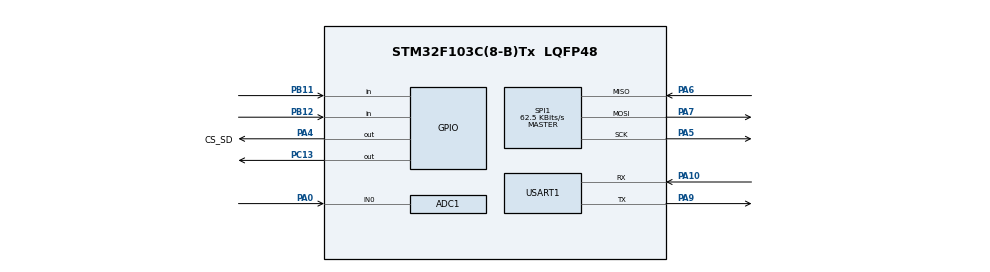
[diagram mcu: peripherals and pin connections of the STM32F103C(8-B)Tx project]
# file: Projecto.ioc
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ADC1.Channel-0\#ChannelRegularConversion=ADC_CHANNEL_0
ADC1.NbrOfConversionFlag=1
ADC1.Rank-0\#ChannelRegularConversion=1
ADC1.SamplingTime-0\#ChannelRegularConversion=ADC_SAMPLETIME_239CYCLES_5
ADC1.master=1
FATFS._MAX_SS=4096
FATFS._USE_LFN=1
Mcu.Family=STM32F1
Mcu.Name=STM32F103C(8-B)Tx
Mcu.Package=LQFP48
NVIC.PriorityGroup=NVIC_PRIORITYGROUP_4
PA0-WKUP.Signal=ADCx_IN0
PA10.Mode=Asynchronous
PA10.Signal=USART1_RX
PA13.Mode=Serial_Wire
PA13.Signal=SYS_JTMS-SWDIO
PA14.Mode=Serial_Wire
PA14.Signal=SYS_JTCK-SWCLK
PA4.GPIO_Label=CS_SD
PA4.Signal=GPIO_Output
PA5.Mode=Full_Duplex_Master
PA5.Signal=SPI1_SCK
PA6.Mode=Full_Duplex_Master
PA6.Signal=SPI1_MISO
PA7.Mode=Full_Duplex_Master
PA7.Signal=SPI1_MOSI
PA9.Mode=Asynchronous
PA9.Signal=USART1_TX
PB11.GPIO_PuPd=GPIO_PULLDOWN
PB11.Signal=GPIO_Input
PB12.GPIO_PuPd=GPIO_PULLDOWN
PB12.Signal=GPIO_Input
PC13-TAMPER-RTC.Signal=GPIO_Output
PD0-OSC_IN.Mode=HSE-External-Oscillator
PD0-OSC_IN.Signal=RCC_OSC_IN
PD1-OSC_OUT.Mode=HSE-External-Oscillator
PD1-OSC_OUT.Signal=RCC_OSC_OUT
ProjectManager.HeapSize=0x200
ProjectManager.StackSize=0x400
ProjectManager.TargetToolchain=STM32CubeIDE
RCC.APB1Freq_Value=8000000
RCC.APB2Freq_Value=8000000
RTC.Month=RTC_MONTH_APRIL
SH.ADCx_IN0.0=ADC1_IN0,IN0
SPI1.BaudRatePrescaler=SPI_BAUDRATEPRESCALER_128
SPI1.CalculateBaudRate=62.5 KBits/s
SPI1.Direction=SPI_DIRECTION_2LINES
SPI1.Mode=SPI_MODE_MASTER
SPI1.VirtualType=VM_MASTER
USART1.VirtualMode=VM_ASYNC
VP_FATFS_VS_Generic.Mode=User_defined
VP_RTC_VS_RTC_Activate.Mode=RTC_Enabled
VP_RTC_VS_RTC_Calendar.Mode=RTC_Calendar
board=custom

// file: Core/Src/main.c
/* USER CODE BEGIN Header */
/**
  ******************************************************************************
  * @file           : main.c
  * @brief          : Main program body
  ******************************************************************************
  * @attention
  *
  * Copyright (c) 2024 STMicroelectronics.
  * All rights reserved.
  *
  * This software is licensed under terms that can be found in the LICENSE file
  * in the root directory of this software component.
  * If no LICENSE file comes with this software, it is provided AS-IS.
  *
  ******************************************************************************
  */
/* USER CODE END Header */
#include "main.h"
#include "fatfs.h"

/* USER CODE BEGIN PD */
#define TEMP_RESOLUTION 10000
#define MINUTE_TICK_OFFSET 600
#define WAIT_OFFSET 5000
/* USER CODE END PD */

ADC_HandleTypeDef hadc1;

RTC_HandleTypeDef hrtc;

SPI_HandleTypeDef hspi1;

UART_HandleTypeDef huart1;

/* USER CODE BEGIN PV */

enum state{lectura,espera,botonEspera};
enum event{start,wait,wait2};
FATFS filesystem;
FIL file;
/* USER CODE END PV */

void SystemClock_Config(void);
static void MX_GPIO_Init(void);
static void MX_SPI1_Init(void);
static void MX_RTC_Init(void);
static void MX_USART1_UART_Init(void);
static void MX_ADC1_Init(void);
/* USER CODE BEGIN PFP */
void RTC_GetTimeStr(char *buffer);
/* USER CODE END PFP */

/* USER CODE BEGIN 0 */

void RTC_GetTimeStr(char *buffer) {
    RTC_DateTypeDef sDate;
    RTC_TimeTypeDef sTime;

    // Obtiene la fecha y hora actual del RTC
    HAL_RTC_GetDate(&hrtc, &sDate, RTC_FORMAT_BIN);
    HAL_RTC_GetTime(&hrtc, &sTime, RTC_FORMAT_BIN);

    // Formatea la hora como una cadena de caracteres y la guarda en el buffer
    sprintf(buffer, "\n\r%02d:%02d:%02d\n\r", sTime.Hours, sTime.Minutes, sTime.Seconds);
}

void GetTemperatura( char *timeStr ){
	int parte_entera;
	int parte_decimal;
	int adc_value1;
	int adc_value;
	char Cadena[50];

	 HAL_ADC_Start(&hadc1);
		    if (HAL_ADC_PollForConversion(&hadc1, 100) == HAL_OK) {
		      adc_value = HAL_ADC_GetValue(&hadc1);
		    }
		  HAL_ADC_Stop(&hadc1);
		  HAL_Delay(1000);
		  adc_value1=(((adc_value*TEMP_RESOLUTION)/4096)*3.3*100)-50*TEMP_RESOLUTION;
		  parte_entera=adc_value1/TEMP_RESOLUTION;
		  parte_decimal=abs(adc_value1%(parte_entera*TEMP_RESOLUTION));
		  parte_decimal=parte_decimal/1000;

		 sprintf(Cadena,"%s %d,%0.2d °C\n\r", timeStr, parte_entera, parte_decimal);

		  // Enviar la cadena por UART
		 HAL_UART_Transmit(&huart1, (uint8_t *)Cadena, strlen(Cadena), HAL_MAX_DELAY);
}

void iniciosd(FATFS fs,FIL fil){
	char header[] = "|Hora|Temperatura|\n\r|-----|-----|\n\r";
	f_mount(&fs, "", 0);
	f_open(&fil, "tabla.txt", FA_CREATE_ALWAYS | FA_WRITE | FA_READ);
	f_lseek(&fil, fil.fsize);
	f_puts(header, &fil);
	f_close(&fil);
}

void flectura(FATFS fs, FIL fil){
	RTC_DateTypeDef sDate;
	RTC_TimeTypeDef sTime;
	int32_t adcValue;
	int32_t entero;
	int32_t decimal;
	char buffer[50];

	// Obtiene la fecha y hora actual del RTC
	HAL_RTC_GetDate(&hrtc, &sDate, RTC_FORMAT_BIN);
	HAL_RTC_GetTime(&hrtc, &sTime, RTC_FORMAT_BIN);

	HAL_ADC_Start(&hadc1);
	if (HAL_ADC_PollForConversion(&hadc1, 100) == HAL_OK) {
		adcValue = HAL_ADC_GetValue(&hadc1);
	}
	HAL_ADC_Stop(&hadc1);
    adcValue=(((adcValue*TEMP_RESOLUTION)/4096)*330)-50*TEMP_RESOLUTION;
    entero=adcValue/TEMP_RESOLUTION;
    decimal=(adcValue%(entero*TEMP_RESOLUTION))/100;

	// Formatea la hora como una cadena de caracteres y la guarda en el buffer
	sprintf(buffer, "| %02d:%02d:%02d | %d,%d °C |\r\n", sTime.Hours, sTime.Minutes, sTime.Seconds, entero, decimal);
	f_open(&fil, "tabla.txt", FA_OPEN_EXISTING | FA_WRITE | FA_READ);
	f_lseek(&fil,fil.fsize);
	f_puts(buffer,&fil);
	f_close(&fil);
}
/* USER CODE END 0 */

int main(void)
{

  /* MCU Configuration--------------------------------------------------------*/

  /* Reset of all peripherals, Initializes the Flash interface and the Systick. */
  HAL_Init();

  /* Configure the system clock */
  SystemClock_Config();

  /* Initialize all configured peripherals */
  MX_GPIO_Init();
  MX_SPI1_Init();
  MX_FATFS_Init();
  MX_RTC_Init();
  MX_USART1_UART_Init();
  MX_ADC1_Init();

  /* Infinite loop */
  /* USER CODE BEGIN WHILE */
  iniciosd(filesystem,file);
  char timeStr[50];
  uint8_t botonA,botonB,botonAold,botonBold,changePin;
  uint32_t startTick;
  enum state maquina = espera;
  enum event event = start;

  while (1)
  {

	  switch(maquina){
	  case lectura:
		  flectura(filesystem,file);
		  maquina = espera;
		  break;

	  case espera:
		  switch(event){
		  case start:
			  startTick = HAL_GetTick();
			  event = wait;
			  break;
		  case wait:
			  botonAold = (uint8_t) HAL_GPIO_ReadPin(GPIOB, GPIO_PIN_11);
			  botonBold = (uint8_t) HAL_GPIO_ReadPin(GPIOB, GPIO_PIN_12);
			  if( HAL_GetTick() > startTick + MINUTE_TICK_OFFSET ) maquina = lectura;
			  if( botonAold == GPIO_PIN_SET || botonBold == GPIO_PIN_SET )
			  {
				  maquina = botonEspera;
				  event = wait;
			  }
			  break;
		  default:
			  event = wait;
			  break;
		  }
		  break;

		  case botonEspera:
			  switch(event){
			  case start:
				  startTick = HAL_GetTick();
				  event = wait2;
				  break;
			  case wait:
				  botonA = (uint8_t) HAL_GPIO_ReadPin(GPIOB, GPIO_PIN_11);
				  botonB = (uint8_t) HAL_GPIO_ReadPin(GPIOB, GPIO_PIN_12);
				  if( (botonA != botonAold) && botonB == GPIO_PIN_RESET ){
					  RTC_GetTimeStr(timeStr);
					  GetTemperatura(timeStr);
					  maquina = espera;
				  }
				  else if( (botonB != botonBold) && botonA == GPIO_PIN_RESET ){
					  flectura(filesystem,file);
					  maquina = espera;
				  }
				  else if( (botonA && botonB) == GPIO_PIN_SET ) event=start;
				  break;

			  case wait2:
				  if(( HAL_GetTick() > startTick + WAIT_OFFSET ) &&  (botonA && botonB == GPIO_PIN_SET))
				  {
					  //fborrar();
					  maquina = espera;
					  event = start;
				  }
				  if (HAL_GetTick()%500 == 0 && changePin == 0 ){
					  HAL_GPIO_TogglePin(GPIOC, GPIO_PIN_13);
					  changePin = 1;
				  }
				  if ( HAL_GetTick()%500 != 0 ) changePin = 0;
				  break;
			  }
		  break;

	  }

    /* USER CODE END WHILE */

  }
}

void SystemClock_Config(void)
{
  RCC_OscInitTypeDef RCC_OscInitStruct = {0};
  RCC_ClkInitTypeDef RCC_ClkInitStruct = {0};
  RCC_PeriphCLKInitTypeDef PeriphClkInit = {0};

  /** Initializes the RCC Oscillators according to the specified parameters
  * in the RCC_OscInitTypeDef structure.
  */
  RCC_OscInitStruct.OscillatorType = RCC_OSCILLATORTYPE_HSI|RCC_OSCILLATORTYPE_LSI;
  RCC_OscInitStruct.HSIState = RCC_HSI_ON;
  RCC_OscInitStruct.HSICalibrationValue = RCC_HSICALIBRATION_DEFAULT;
  RCC_OscInitStruct.LSIState = RCC_LSI_ON;
  RCC_OscInitStruct.PLL.PLLState = RCC_PLL_NONE;
  if (HAL_RCC_OscConfig(&RCC_OscInitStruct) != HAL_OK)
  {
    Error_Handler();
  }

  /** Initializes the CPU, AHB and APB buses clocks
  */
  RCC_ClkInitStruct.ClockType = RCC_CLOCKTYPE_HCLK|RCC_CLOCKTYPE_SYSCLK
                              |RCC_CLOCKTYPE_PCLK1|RCC_CLOCKTYPE_PCLK2;
  RCC_ClkInitStruct.SYSCLKSource = RCC_SYSCLKSOURCE_HSI;
  RCC_ClkInitStruct.AHBCLKDivider = RCC_SYSCLK_DIV1;
  RCC_ClkInitStruct.APB1CLKDivider = RCC_HCLK_DIV1;
  RCC_ClkInitStruct.APB2CLKDivider = RCC_HCLK_DIV1;

  if (HAL_RCC_ClockConfig(&RCC_ClkInitStruct, FLASH_LATENCY_0) != HAL_OK)
  {
    Error_Handler();
  }
  PeriphClkInit.PeriphClockSelection = RCC_PERIPHCLK_RTC|RCC_PERIPHCLK_ADC;
  PeriphClkInit.RTCClockSelection = RCC_RTCCLKSOURCE_LSI;
  PeriphClkInit.AdcClockSelection = RCC_ADCPCLK2_DIV2;
  if (HAL_RCCEx_PeriphCLKConfig(&PeriphClkInit) != HAL_OK)
  {
    Error_Handler();
  }
}

static void MX_ADC1_Init(void)
{

  ADC_ChannelConfTypeDef sConfig = {0};

  /** Common config
  */
  hadc1.Instance = ADC1;
  hadc1.Init.ScanConvMode = ADC_SCAN_DISABLE;
  hadc1.Init.ContinuousConvMode = DISABLE;
  hadc1.Init.DiscontinuousConvMode = DISABLE;
  hadc1.Init.ExternalTrigConv = ADC_SOFTWARE_START;
  hadc1.Init.DataAlign = ADC_DATAALIGN_RIGHT;
  hadc1.Init.NbrOfConversion = 1;
  if (HAL_ADC_Init(&hadc1) != HAL_OK)
  {
    Error_Handler();
  }

  /** Configure Regular Channel
  */
  sConfig.Channel = ADC_CHANNEL_0;
  sConfig.Rank = ADC_REGULAR_RANK_1;
  sConfig.SamplingTime = ADC_SAMPLETIME_239CYCLES_5;
  if (HAL_ADC_ConfigChannel(&hadc1, &sConfig) != HAL_OK)
  {
    Error_Handler();
  }

}

static void MX_RTC_Init(void)
{

  RTC_TimeTypeDef sTime = {0};
  RTC_DateTypeDef DateToUpdate = {0};

  /** Initialize RTC Only
  */
  hrtc.Instance = RTC;
  hrtc.Init.AsynchPrediv = RTC_AUTO_1_SECOND;
  hrtc.Init.OutPut = RTC_OUTPUTSOURCE_ALARM;
  if (HAL_RTC_Init(&hrtc) != HAL_OK)
  {
    Error_Handler();
  }

  /** Initialize RTC and set the Time and Date
  */
  sTime.Hours = 0x0;
  sTime.Minutes = 0x0;
  sTime.Seconds = 0x0;

  if (HAL_RTC_SetTime(&hrtc, &sTime, RTC_FORMAT_BCD) != HAL_OK)
  {
    Error_Handler();
  }
  DateToUpdate.WeekDay = RTC_WEEKDAY_MONDAY;
  DateToUpdate.Month = RTC_MONTH_APRIL;
  DateToUpdate.Date = 0x1;
  DateToUpdate.Year = 0x0;

  if (HAL_RTC_SetDate(&hrtc, &DateToUpdate, RTC_FORMAT_BCD) != HAL_OK)
  {
    Error_Handler();
  }

}

static void MX_SPI1_Init(void)
{

  /* SPI1 parameter configuration*/
  hspi1.Instance = SPI1;
  hspi1.Init.Mode = SPI_MODE_MASTER;
  hspi1.Init.Direction = SPI_DIRECTION_2LINES;
  hspi1.Init.DataSize = SPI_DATASIZE_8BIT;
  hspi1.Init.CLKPolarity = SPI_POLARITY_LOW;
  hspi1.Init.CLKPhase = SPI_PHASE_1EDGE;
  hspi1.Init.NSS = SPI_NSS_SOFT;
  hspi1.Init.BaudRatePrescaler = SPI_BAUDRATEPRESCALER_128;
  hspi1.Init.FirstBit = SPI_FIRSTBIT_MSB;
  hspi1.Init.TIMode = SPI_TIMODE_DISABLE;
  hspi1.Init.CRCCalculation = SPI_CRCCALCULATION_DISABLE;
  hspi1.Init.CRCPolynomial = 10;
  if (HAL_SPI_Init(&hspi1) != HAL_OK)
  {
    Error_Handler();
  }

}

static void MX_USART1_UART_Init(void)
{

  huart1.Instance = USART1;
  huart1.Init.BaudRate = 115200;
  huart1.Init.WordLength = UART_WORDLENGTH_8B;
  huart1.Init.StopBits = UART_STOPBITS_1;
  huart1.Init.Parity = UART_PARITY_NONE;
  huart1.Init.Mode = UART_MODE_TX_RX;
  huart1.Init.HwFlowCtl = UART_HWCONTROL_NONE;
  huart1.Init.OverSampling = UART_OVERSAMPLING_16;
  if (HAL_UART_Init(&huart1) != HAL_OK)
  {
    Error_Handler();
  }

}

static void MX_GPIO_Init(void)
{
  GPIO_InitTypeDef GPIO_InitStruct = {0};

  /* GPIO Ports Clock Enable */
  __HAL_RCC_GPIOC_CLK_ENABLE();
  __HAL_RCC_GPIOD_CLK_ENABLE();
  __HAL_RCC_GPIOA_CLK_ENABLE();
  __HAL_RCC_GPIOB_CLK_ENABLE();

  /*Configure GPIO pin Output Level */
  HAL_GPIO_WritePin(GPIOC, GPIO_PIN_13, GPIO_PIN_RESET);

  /*Configure GPIO pin Output Level */
  HAL_GPIO_WritePin(CS_SD_GPIO_Port, CS_SD_Pin, GPIO_PIN_RESET);

  /*Configure GPIO pin : PC13 */
  GPIO_InitStruct.Pin = GPIO_PIN_13;
  GPIO_InitStruct.Mode = GPIO_MODE_OUTPUT_PP;
  GPIO_InitStruct.Pull = GPIO_NOPULL;
  GPIO_InitStruct.Speed = GPIO_SPEED_FREQ_LOW;
  HAL_GPIO_Init(GPIOC, &GPIO_InitStruct);

  /*Configure GPIO pin : CS_SD_Pin */
  GPIO_InitStruct.Pin = CS_SD_Pin;
  GPIO_InitStruct.Mode = GPIO_MODE_OUTPUT_PP;
  GPIO_InitStruct.Pull = GPIO_NOPULL;
  GPIO_InitStruct.Speed = GPIO_SPEED_FREQ_LOW;
  HAL_GPIO_Init(CS_SD_GPIO_Port, &GPIO_InitStruct);

  /*Configure GPIO pins : PB11 PB12 */
  GPIO_InitStruct.Pin = GPIO_PIN_11|GPIO_PIN_12;
  GPIO_InitStruct.Mode = GPIO_MODE_INPUT;
  GPIO_InitStruct.Pull = GPIO_PULLDOWN;
  HAL_GPIO_Init(GPIOB, &GPIO_InitStruct);

}

void Error_Handler(void)
{
  __disable_irq();
  while (1)
  {
  }
}
